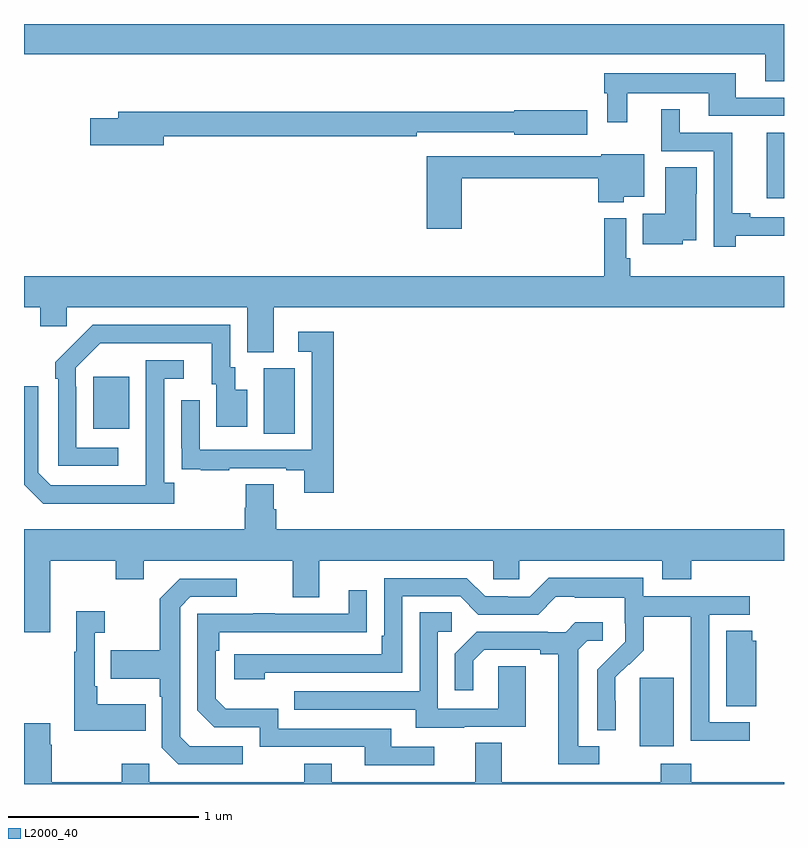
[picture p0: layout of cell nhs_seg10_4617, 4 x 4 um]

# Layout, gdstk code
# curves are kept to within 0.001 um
import gdstk
lib = gdstk.Library(unit=1e-6, precision=1e-09)
def R(c, l, rs):  # rectangles x0, y0, x1, y1
    for r in rs: c.add(gdstk.rectangle(r[:2], r[2:], *l))
def P(c, l, *ps):  # polygons
    for p in ps: c.add(gdstk.Polygon(p, *l))
L2000_40 = (2000, 40)

nhs_seg10_4617 = lib.new_cell('nhs_seg10_4617')
R(nhs_seg10_4617, L2000_40, [(378.242,1272.698,378.421,1273.059), (376.262,1274.344,376.426,1274.688), (375.365,1274.369,375.553,1274.644), (378.908,1275.584,379,1275.928)])
P(nhs_seg10_4617, L2000_40, [(379,1276.5),(375,1276.5),(375,1276.34),(378.902,1276.34),(378.902,1276.198),(379,1276.198)],
  [(378.175,1276.136),(378.605,1276.136),(378.605,1276.017),(379,1276.017),(379,1276.113),(378.745,1276.113),(378.745,1276.24),(378.054,1276.24),(378.054,1276.135),(378.071,1276.135),(378.071,1275.984),(378.175,1275.984)],
  [(378.746,1275.386),(379,1275.386),(379,1275.483),(378.823,1275.483),(378.823,1275.503),(378.728,1275.503),(378.728,1275.927),(378.451,1275.927),(378.451,1276.051),(378.353,1276.051),(378.353,1275.831),(378.63,1275.831),(378.63,1275.327),(378.746,1275.327)],
  [(375.736,1275.91),(377.066,1275.91),(377.066,1275.93),(377.58,1275.93),(377.58,1275.917),(377.965,1275.917),(377.965,1276.047),(377.58,1276.047),(377.58,1276.039),(375.497,1276.039),(375.497,1276.005),(375.348,1276.005),(375.348,1275.863),(375.736,1275.863)],
  [(377.303,1275.688),(378.023,1275.688),(378.023,1275.563),(378.156,1275.563),(378.156,1275.59),(378.265,1275.59),(378.265,1275.814),(378.039,1275.814),(378.039,1275.804),(377.12,1275.804),(377.12,1275.423),(377.303,1275.423)],
  [(378.468,1275.362),(378.538,1275.362),(378.538,1275.606),(378.541,1275.606),(378.541,1275.746),(378.374,1275.746),(378.374,1275.502),(378.256,1275.502),(378.256,1275.341),(378.468,1275.341)],
  [(376.315,1275.008),(379,1275.008),(379,1275.172),(378.191,1275.172),(378.191,1275.268),(378.171,1275.268),(378.171,1275.478),(378.055,1275.478),(378.055,1275.172),(375,1275.172),(375,1275.008),(375.086,1275.008),(375.086,1274.91),(375.225,1274.91),(375.225,1275.008),(376.175,1275.008),(376.175,1274.773),(376.315,1274.773)],
  [(375.496,1274.271),(375.276,1274.271),(375.276,1274.591),(375.273,1274.591),(375.273,1274.691),(375.402,1274.82),(375.989,1274.82),(375.989,1274.604),(376.013,1274.604),(376.013,1274.379),(376.174,1274.379),(376.174,1274.575),(376.111,1274.575),(376.111,1274.694),(376.086,1274.694),(376.086,1274.916),(375.362,1274.916),(375.165,1274.721),(375.165,1274.633),(375.18,1274.633),(375.18,1274.175),(375.496,1274.175)],
  [(376.631,1274.881),(376.443,1274.881),(376.443,1274.775),(376.515,1274.775),(376.515,1274.259),(375.924,1274.259),(375.924,1274.521),(375.828,1274.521),(375.828,1274.266),(375.829,1274.266),(375.829,1274.157),(375.931,1274.157),(375.931,1274.151),(376.079,1274.151),(376.079,1274.163),(376.379,1274.163),(376.379,1274.151),(376.475,1274.151),(376.475,1274.034),(376.631,1274.034)],
  [(375.79,1274.086),(375.738,1274.086),(375.738,1274.634),(375.841,1274.634),(375.841,1274.73),(375.642,1274.73),(375.641,1274.073),(375.141,1274.073),(375.075,1274.139),(375.075,1274.593),(375,1274.593),(375,1274.076),(375.1,1273.976),(375.79,1273.976)],
  [(375.139,1273.676),(375.484,1273.676),(375.484,1273.577),(375.631,1273.577),(375.631,1273.676),(376.415,1273.676),(376.415,1273.482),(376.555,1273.482),(376.555,1273.676),(377.469,1273.676),(377.469,1273.578),(377.607,1273.578),(377.607,1273.676),(378.359,1273.676),(378.359,1273.577),(378.512,1273.577),(378.512,1273.676),(379,1273.676),(379,1273.84),(376.328,1273.84),(376.328,1273.946),(376.315,1273.946),(376.315,1274.078),(376.168,1274.078),(376.168,1273.953),(376.163,1273.953),(376.163,1273.84),(375,1273.84),(375,1273.299),(375.139,1273.299)],
  [(378.82,1272.825),(378.606,1272.825),(378.606,1273.392),(378.82,1273.392),(378.82,1273.488),(378.258,1273.488),(378.258,1273.585),(377.761,1273.585),(377.661,1273.485),(377.546,1273.485),(377.546,1273.488),(377.427,1273.488),(377.331,1273.584),(376.896,1273.584),(376.896,1273.279),(376.883,1273.279),(376.883,1273.182),(376.107,1273.182),(376.107,1273.052),(376.268,1273.052),(376.268,1273.086),(376.992,1273.086),(376.992,1273.488),(377.295,1273.488),(377.391,1273.392),(377.706,1273.392),(377.799,1273.485),(377.899,1273.485),(377.899,1273.481),(378.162,1273.481),(378.162,1273.347),(378.164,1273.347),(378.164,1273.25),(378.018,1273.102),(378.018,1272.784),(378.114,1272.784),(378.113,1273.061),(378.183,1273.131),(378.186,1273.128),(378.263,1273.205),(378.263,1273.38),(378.508,1273.38),(378.508,1273.156),(378.51,1273.156),(378.51,1272.727),(378.82,1272.727)],
  [(376.15,1272.699),(375.873,1272.699),(375.822,1272.75),(375.822,1273.431),(375.876,1273.485),(376.12,1273.485),(376.12,1273.581),(375.819,1273.581),(375.714,1273.475),(375.714,1273.203),(375.457,1273.203),(375.457,1273.055),(375.714,1273.055),(375.714,1272.959),(375.726,1272.959),(375.726,1272.69),(375.813,1272.603),(376.15,1272.603)],
  [(377.158,1272.696),(376.933,1272.696),(376.933,1272.792),(376.338,1272.792),(376.338,1272.895),(376.061,1272.895),(376.008,1272.948),(376.008,1273.202),(376.028,1273.202),(376.028,1273.299),(376.805,1273.3),(376.805,1273.519),(376.709,1273.519),(376.709,1273.395),(376.319,1273.395),(376.319,1273.4),(376.207,1273.4),(376.207,1273.395),(375.912,1273.395),(375.912,1272.888),(376.002,1272.798),(376.242,1272.798),(376.242,1272.696),(376.793,1272.696),(376.793,1272.6),(377.158,1272.6)],
  [(375.641,1272.919),(375.385,1272.919),(375.385,1273.015),(375.372,1273.015),(375.372,1273.295),(375.424,1273.295),(375.424,1273.408),(375.275,1273.408),(375.275,1273.195),(375.264,1273.195),(375.264,1272.779),(375.641,1272.779)],
  [(377.317,1272.801),(377.641,1272.801),(377.641,1273.121),(377.496,1273.121),(377.496,1272.897),(377.178,1272.897),(377.178,1273.302),(377.251,1273.302),(377.251,1273.403),(377.082,1273.403),(377.082,1272.987),(376.423,1272.987),(376.423,1272.891),(377.063,1272.891),(377.063,1272.797),(377.317,1272.797)],
  [(378.028,1272.699),(377.917,1272.699),(377.917,1273.207),(377.964,1273.254),(378.046,1273.254),(378.046,1273.351),(377.902,1273.351),(377.85,1273.299),(377.756,1273.299),(377.756,1273.302),(377.384,1273.302),(377.268,1273.186),(377.268,1272.993),(377.365,1272.993),(377.365,1273.149),(377.422,1273.206),(377.717,1273.206),(377.717,1273.184),(377.813,1273.184),(377.813,1272.603),(378.028,1272.603)],
  [(378.853,1273.254),(378.834,1273.254),(378.834,1273.307),(378.695,1273.307),(378.695,1272.91),(378.853,1272.91)],
  [(379,1272.508),(378.512,1272.508),(378.512,1272.607),(378.352,1272.607),(378.352,1272.508),(377.515,1272.508),(377.515,1272.716),(377.375,1272.716),(377.375,1272.508),(376.621,1272.508),(376.621,1272.607),(376.474,1272.607),(376.474,1272.508),(375.66,1272.508),(375.66,1272.607),(375.514,1272.607),(375.514,1272.508),(375.147,1272.508),(375.147,1272.707),(375.139,1272.707),(375.139,1272.82),(375,1272.82),(375,1272.5),(379,1272.5)])

lib.write_gds('nhs_seg10_4617.gds')
